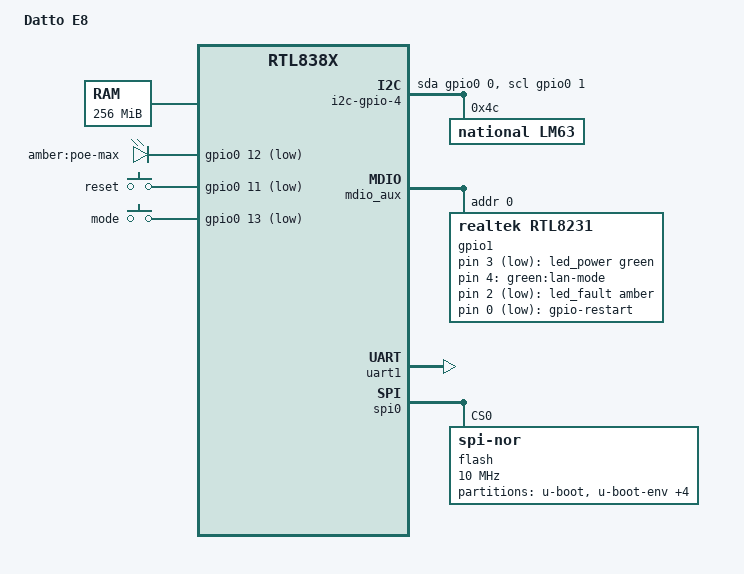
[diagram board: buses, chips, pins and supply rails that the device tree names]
// SPDX-License-Identifier: GPL-2.0-or-later OR MIT

#include <dt-bindings/gpio/gpio.h>
#include <dt-bindings/input/input.h>
#include <dt-bindings/leds/common.h>

#include "rtl838x.dtsi"

/ {
	compatible = "datto,e8", "realtek,rtl838x-soc";

	model = "Datto E8";

	aliases {
		led-boot = &led_power;
		led-failsafe = &led_fault;
		led-running = &led_power;
		led-upgrade = &led_power;
	};

	memory@0 {
		device_type = "memory";
		reg = <0x0 0x10000000>;
	};

	leds: leds {
		pinctrl-names = "default";
		pinctrl-0 = <&pinmux_disable_sys_led>;
		compatible = "gpio-leds";

		led_power: led-0 {
			function = LED_FUNCTION_POWER;
			color = <LED_COLOR_ID_GREEN>;
			gpios = <&gpio1 3 GPIO_ACTIVE_LOW>;
		};

		/* high: LAN Mode, low: PoE Mode */
		led_lan_mode: led-1 {
			label = "green:lan-mode";
			gpios = <&gpio1 4 GPIO_ACTIVE_HIGH>;
		};

		led_fault: led-2 {
			function = LED_FUNCTION_FAULT;
			color = <LED_COLOR_ID_AMBER>;
			gpios = <&gpio1 2 GPIO_ACTIVE_LOW>;
		};

		led_poe_max: led-3 {
			label = "amber:poe-max";
			gpios = <&gpio0 12 GPIO_ACTIVE_LOW>;
		};
	};

	keys {
		compatible = "gpio-keys";

		reset {
			label = "reset";
			gpios = <&gpio0 11 GPIO_ACTIVE_LOW>;
			linux,code = <KEY_RESTART>;
		};

		mode {
			label = "mode";
			gpios = <&gpio0 13 GPIO_ACTIVE_LOW>;
			linux,code = <KEY_LIGHTS_TOGGLE>;
		};
	};

	gpio-restart {
		compatible = "gpio-restart";
		gpios = <&gpio1 0 GPIO_ACTIVE_LOW>;
		open-source;
	};

	/* LM63 */
	i2c-gpio-4 {
		compatible = "i2c-gpio";
		sda-gpios = <&gpio0 0 (GPIO_ACTIVE_HIGH | GPIO_OPEN_DRAIN)>;
		scl-gpios = <&gpio0 1 GPIO_ACTIVE_HIGH>;
		i2c-gpio,delay-us = <2>;
		i2c-gpio,scl-open-drain; /* should be replaced by i2c-gpio,scl-has-no-pullup in kernel 6.6 */
		#address-cells = <1>;
		#size-cells = <0>;

		lm63@4c {
			compatible = "national,lm63";
			reg = <0x4c>;
		};
	};
};

&mdio_aux {
	status = "okay";

	gpio1: expander@0 {
		compatible = "realtek,rtl8231";
		reg = <0>;

		gpio-controller;
		#gpio-cells = <2>;
		gpio-ranges = <&gpio1 0 0 37>;

		led-controller {
			compatible = "realtek,rtl8231-leds";
			status = "disabled";
		};
	};
};

&uart1 {
	status = "okay";
};

&mdio_bus0 {
	INTERNAL_PHY(8)
	INTERNAL_PHY(9)
	INTERNAL_PHY(10)
	INTERNAL_PHY(11)
	INTERNAL_PHY(12)
	INTERNAL_PHY(13)
	INTERNAL_PHY(14)
	INTERNAL_PHY(15)

	/* External phy RTL8214FC */
	// EXTERNAL_SFP_PHY_FULL(24, 0)
	// EXTERNAL_SFP_PHY_FULL(25, 1)
	/* ERROR (phandle_references): /switchcore@1b000000/mdio-controller/mdio-bus@0/ethernet-phy@26: Reference to non-existent node or label "sfp2 */
	// EXTERNAL_SFP_PHY_FULL(26, 2)
	// EXTERNAL_SFP_PHY_FULL(27, 3)
};

&switch0 {
	ports {
		#address-cells = <1>;
		#size-cells = <0>;

		SWITCH_PORT(8, 1, internal)
		SWITCH_PORT(9, 2, internal)
		SWITCH_PORT(10, 3, internal)
		SWITCH_PORT(11, 4, internal)
		SWITCH_PORT(12, 5, internal)
		SWITCH_PORT(13, 6, internal)
		SWITCH_PORT(14, 7, internal)
		SWITCH_PORT(15, 8, internal)

		// SWITCH_PORT_SDS(24, 9, 0, qsgmii)
		// SWITCH_PORT_SDS(25, 10, 1, qsgmii)
		// SWITCH_PORT_SDS(26, 11, 2, qsgmii)
		// SWITCH_PORT_SDS(27, 12, 3, qsgmii)

		port@28 {
			ethernet = <&ethernet0>;
			reg = <28>;
			phy-mode = "internal";
			fixed-link {
				speed = <1000>;
				full-duplex;
			};
		};
	};
};

&spi0 {
	status = "okay";
	flash@0 {
		compatible = "jedec,spi-nor";
		reg = <0>;
		spi-max-frequency = <10000000>;

		partitions {
			compatible = "fixed-partitions";
			#address-cells = <1>;
			#size-cells = <1>;

			partition@0 {
				label = "u-boot";
				reg = <0x0 0x80000>;
				read-only;
			};
			partition@80000 {
				label = "u-boot-env";
				reg = <0x80000 0x10000>;
				nvmem-layout {
					compatible = "u-boot,env";

					macaddr_ubootenv_ethaddr: ethaddr {
						#nvmem-cell-cells = <1>;
					};
				};
			};
			partition@90000 {
				label = "u-boot-env2";
				reg = <0x90000 0x20000>;
			};
			partition@a0000 {
				label = "cfg";
				reg = <0xa0000 0x400000>;
			};
			partition@4a0000 {
				label = "log";
				reg = <0x4a0000 0x100000>;
			};
			partition@5a0000 {
				label = "firmware";
				reg = <0x5a0000 0x1a60000>;
				compatible = "openwrt,uimage", "denx,uimage";
				openwrt,ih-magic = <0x00703400>;
			};
		};
	};
};
